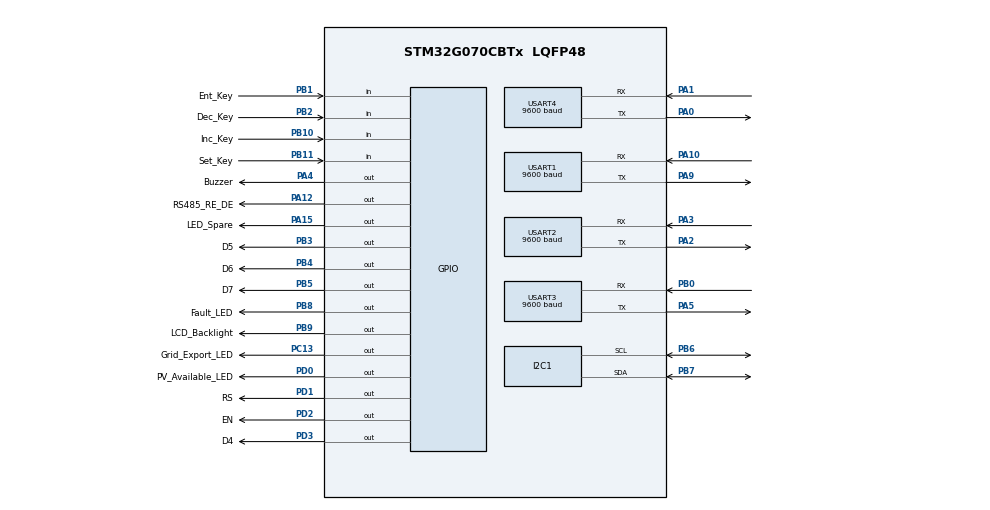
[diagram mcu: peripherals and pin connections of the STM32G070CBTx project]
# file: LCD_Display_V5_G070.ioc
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I2C1.Timing=0x10B17DB5
Mcu.Family=STM32G0
Mcu.Name=STM32G070CBTx
Mcu.Package=LQFP48
NVIC.TIM1_BRK_UP_TRG_COM_IRQn=true\:0\:0\:false\:false\:true\:true\:true\:true
NVIC.USART1_IRQn=true\:0\:0\:false\:false\:true\:true\:true\:true
NVIC.USART2_IRQn=true\:0\:0\:false\:false\:true\:true\:true\:true
NVIC.USART3_4_IRQn=true\:0\:0\:false\:false\:true\:true\:true\:true
PA0.Mode=Asynchronous
PA0.Signal=USART4_TX
PA1.Mode=Asynchronous
PA1.Signal=USART4_RX
PA10.Mode=Asynchronous
PA10.Signal=USART1_RX
PA12\ [PA10].GPIO_Label=RS485_RE_DE
PA12\ [PA10].Signal=GPIO_Output
PA13.Mode=Serial_Wire
PA13.Signal=SYS_SWDIO
PA14-BOOT0.Mode=Serial_Wire
PA14-BOOT0.Signal=SYS_SWCLK
PA15.GPIO_Label=LED_Spare
PA15.Signal=GPIO_Output
PA2.Mode=Asynchronous
PA2.Signal=USART2_TX
PA3.Mode=Asynchronous
PA3.Signal=USART2_RX
PA4.GPIO_Label=Buzzer
PA4.Signal=GPIO_Output
PA5.Mode=Asynchronous
PA5.Signal=USART3_TX
PA9.Mode=Asynchronous
PA9.Signal=USART1_TX
PB0.Mode=Asynchronous
PB0.Signal=USART3_RX
PB1.GPIO_Label=Ent_Key
PB1.Signal=GPIO_Input
PB10.GPIO_Label=Inc_Key
PB10.Signal=GPIO_Input
PB11.GPIO_Label=Set_Key
PB11.Signal=GPIO_Input
PB2.GPIO_Label=Dec_Key
PB2.Signal=GPIO_Input
PB3.GPIO_Label=D5
PB3.Signal=GPIO_Output
PB4.GPIO_Label=D6
PB4.Signal=GPIO_Output
PB5.GPIO_Label=D7
PB5.Signal=GPIO_Output
PB6.Mode=I2C
PB6.Signal=I2C1_SCL
PB7.Mode=I2C
PB7.Signal=I2C1_SDA
PB8.GPIO_Label=Fault_LED
PB8.Signal=GPIO_Output
PB9.GPIO_Label=LCD_Backlight
PB9.Signal=GPIO_Output
PC13.GPIO_Label=Grid_Export_LED
PC13.Signal=GPIO_Output
PD0.GPIO_Label=PV_Available_LED
PD0.Signal=GPIO_Output
PD1.GPIO_Label=RS
PD1.Signal=GPIO_Output
PD2.GPIO_Label=EN
PD2.Signal=GPIO_Output
PD3.GPIO_Label=D4
PD3.Signal=GPIO_Output
PF0-OSC_IN\ (PF0).Mode=HSE-External-Oscillator
PF0-OSC_IN\ (PF0).Signal=RCC_OSC_IN
PF1-OSC_OUT\ (PF1).Mode=HSE-External-Oscillator
PF1-OSC_OUT\ (PF1).Signal=RCC_OSC_OUT
ProjectManager.HeapSize=0x200
ProjectManager.StackSize=0x400
ProjectManager.TargetToolchain=STM32CubeIDE
RCC.ADCFreq_Value=64000000
RCC.AHBFreq_Value=64000000
RCC.CortexFreq_Value=64000000
RCC.EXTERNAL_CLOCK_VALUE=48000
RCC.HCLKFreq_Value=64000000
RCC.HSE_VALUE=25000000
RCC.HSI_VALUE=16000000
RCC.LSE_VALUE=32768
RCC.SYSCLKFreq_VALUE=64000000
RCC.SYSCLKSource=RCC_SYSCLKSOURCE_PLLCLK
RCC.VCOOutputFreq_Value=128000000
TIM1.Period=999
TIM1.Prescaler=63
USART1.BaudRate=9600
USART1.VirtualMode-Asynchronous=VM_ASYNC
USART2.BaudRate=9600
USART2.VirtualMode-Asynchronous=VM_ASYNC
USART3.BaudRate=9600
USART3.VirtualMode-Asynchronous=VM_ASYNC
USART4.BaudRate=9600
USART4.VirtualMode-Asynchronous=VM_ASYNC
VP_RTC_VS_RTC_Activate.Mode=RTC_Enabled
VP_TIM1_VS_ClockSourceINT.Mode=Internal
board=custom

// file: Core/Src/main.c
/* USER CODE BEGIN Header */
/**
  ******************************************************************************
  * @file           : main.c
  * @brief          : Main program body
  ******************************************************************************
  * @attention
  *
  * Copyright (c) 2025 STMicroelectronics.
  * All rights reserved.
  *
  * This software is licensed under terms that can be found in the LICENSE file
  * in the root directory of this software component.
  * If no LICENSE file comes with this software, it is provided AS-IS.
  *
  ******************************************************************************
  */
/* USER CODE END Header */
#include "main.h"
#include "i2c.h"
#include "rtc.h"
#include "tim.h"
#include "usart.h"
#include "gpio.h"

/* USER CODE BEGIN Includes */
#include "Main_Variables.h"
#include "Main_Functions.h"

#include "Display_App_Variables.h"
#include "Display_App_Functions.h"

#include "Switch_App_Variables.h"
#include "Switch_App_Functions.h"

#include "LCD16X2_Driver_Variables.h"
#include "LCD16X2_Driver_Functions.h"

#include "EEPROM_App_Functions.h"
#include "EEPROM_App_Variables.h"

#include "EEPROM_Drv_Functions.h"
#include "EEPROM_Drv_Variables.h"

#include "UART1_Mast_App_Functions.h"
#include "UART1_Mast_App_Variables.h"

#include "UART1_Mast_Drv_Functions.h"
#include "UART1_Mast_Drv_Variables.h"

#include "UART2_Slave_Functions.h"
#include "UART2_Slave_Variables.h"

#include "RTC_Drv_Functions.h"
#include "RTC_Drv_Variables.h"
/* USER CODE END Includes */

void SystemClock_Config(void);

int main(void)
{

  /* MCU Configuration--------------------------------------------------------*/

  /* Reset of all peripherals, Initializes the Flash interface and the Systick. */
  LL_APB2_GRP1_EnableClock(LL_APB2_GRP1_PERIPH_SYSCFG);
  LL_APB1_GRP1_EnableClock(LL_APB1_GRP1_PERIPH_PWR);

  /* SysTick_IRQn interrupt configuration */
  NVIC_SetPriority(SysTick_IRQn, 3);

  /* Configure the system clock */
  SystemClock_Config();

  /* Initialize all configured peripherals */
  MX_GPIO_Init();
  MX_I2C1_Init();
  MX_USART1_UART_Init();
  MX_USART2_UART_Init();
  MX_USART3_UART_Init();
  MX_USART4_UART_Init();
  MX_TIM1_Init();
  MX_RTC_Init();
  /* USER CODE BEGIN 2 */

  EEPROM_Drv_Init(I2C1,EEPROM_Drv_Device_Addr);
  RTC_Drv_Init(I2C1,RTC_Device_Addr);
  RTC_Drv_Intrnl_Alarm_Init();
  Main_Variables_Init();
  Display_Variables_Init();

  TIM1->DIER |= TIM_DIER_UIE;  //Update interrupt enable
  TIM1->CR1 |= TIM_CR1_CEN;    // counter enable

  //GPIOB->BSRR |= LCD_Back_Light_Pin;

//  GPIOB->ODR &= ~LCD_Back_Light_Pin;
//  GPIOB->BSRR |= LCD_Back_Light_Pin;
//  LL_GPIO_SetOutputPin(LCD_Backlight_GPIO_Port,LCD_Back_Light_Pin);
//  LL_GPIO_SetOutputPin(Buzzer_GPIO_Port,Buzzer_Pin);

  LCDInit(CURSOR_ULINE);

  State=Metering_Data_Rq;
  EEPROM_App_Flags.Read_Settings_Req = 1;
//  State = Setting_Data_Rq;
  Disp_Cntrl.Settng_Index = 1;
  Disp_Cntrl.Calib_Index = 1;
  Disp_Cntrl.Mtrng_Index = 1;
//
  RTC_Drv_Set_Intrnl_From_Ext();
//
//  EEPROM_App_Var.Mtrng_Energy_Cntr =  EEPROM_Drv_Read_Byte(EEPROM_App_Metering_Cntr_Start_Addr);
//
//  if(EEPROM_App_Var.Mtrng_Energy_Cntr > 31)
//  {
//	  EEPROM_App_Var.Mtrng_Energy_Cntr = 0;
//	  EEPROM_Drv_Write_Byte(EEPROM_App_Metering_Cntr_Start_Addr , EEPROM_App_Var.Mtrng_Energy_Cntr);
//  }

  UART1_Enable_Receive_Interrupt; //Enabling the receive interrupt
  UART1_Enable;
  UART2_Enable_Receive_Interrupt;
  UART2_Enable;

  /* USER CODE END 2 */

  /* Infinite loop */
  /* USER CODE BEGIN WHILE */

  LCD_Clear_Display();
  LCD_Disp_On();

  while (1)
  {
//	  WhileLoop_Display_Menu_Fns(ID);
	Whileloop_State_Fn();

	LCD_Disp_On();

	Delay(10);
//		LCD_Clear_Display();

	U1Mast_App_Store_Received_Data_In_Variables();
	UART2_Store_Received_Data_In_Variables();
	UART2_Request_Send_Message();

    /* USER CODE END WHILE */

  }
}

void SystemClock_Config(void)
{
  LL_FLASH_SetLatency(LL_FLASH_LATENCY_2);
  while(LL_FLASH_GetLatency() != LL_FLASH_LATENCY_2)
  {
  }

  /* HSI configuration and activation */
  LL_RCC_HSI_Enable();
  while(LL_RCC_HSI_IsReady() != 1)
  {
  }

  /* LSI configuration and activation */
  LL_RCC_LSI_Enable();
  while(LL_RCC_LSI_IsReady() != 1)
  {
  }

  LL_PWR_EnableBkUpAccess();
  /* Main PLL configuration and activation */
  LL_RCC_PLL_ConfigDomain_SYS(LL_RCC_PLLSOURCE_HSI, LL_RCC_PLLM_DIV_1, 8, LL_RCC_PLLR_DIV_2);
  LL_RCC_PLL_Enable();
  LL_RCC_PLL_EnableDomain_SYS();
  while(LL_RCC_PLL_IsReady() != 1)
  {
  }

  /* Set AHB prescaler*/
  LL_RCC_SetAHBPrescaler(LL_RCC_SYSCLK_DIV_1);

  /* Sysclk activation on the main PLL */
  LL_RCC_SetSysClkSource(LL_RCC_SYS_CLKSOURCE_PLL);
  while(LL_RCC_GetSysClkSource() != LL_RCC_SYS_CLKSOURCE_STATUS_PLL)
  {
  }

  /* Set APB1 prescaler*/
  LL_RCC_SetAPB1Prescaler(LL_RCC_APB1_DIV_1);
  LL_Init1msTick(64000000);
  /* Update CMSIS variable (which can be updated also through SystemCoreClockUpdate function) */
  LL_SetSystemCoreClock(64000000);
}

void Error_Handler(void)
{
  __disable_irq();
  while (1)
  {
  }
}
